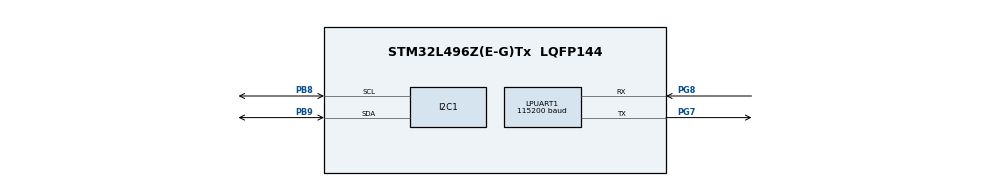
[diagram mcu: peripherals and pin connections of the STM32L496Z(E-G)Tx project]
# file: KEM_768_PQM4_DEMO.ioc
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I2C1.Timing=0x00100D14
LPUART1.BaudRate=115200
LPUART1.WordLength=UART_WORDLENGTH_8B
Mcu.Family=STM32L4
Mcu.Name=STM32L496Z(E-G)Tx
Mcu.Package=LQFP144
NVIC.PriorityGroup=NVIC_PRIORITYGROUP_4
PB8.Mode=I2C
PB8.Signal=I2C1_SCL
PB9.Mode=I2C
PB9.Signal=I2C1_SDA
PG7.Mode=Asynchronous
PG7.Signal=LPUART1_TX
PG8.Mode=Asynchronous
PG8.Signal=LPUART1_RX
ProjectManager.HeapSize=0x200
ProjectManager.StackSize=0x400
ProjectManager.TargetToolchain=STM32CubeIDE
RCC.ADCFreq_Value=32000000
RCC.HSE_VALUE=8000000
RCC.HSI48_VALUE=48000000
RCC.HSI_VALUE=16000000
RCC.LSE_VALUE=32768
RCC.MSI_VALUE=4000000
RCC.PLLSAI1N=16
RCC.USBFreq_Value=32000000
RCC.VCOOutputFreq_Value=32000000
VP_RNG_VS_RNG.Mode=RNG_Activate
board=custom

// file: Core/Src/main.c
/* USER CODE BEGIN Header */
/**
  ******************************************************************************
  * @file           : main.c
  * @brief          : Main program body
  ******************************************************************************
  * @attention
  *
  * Copyright (c) 2026 STMicroelectronics.
  * All rights reserved.
  *
  * This software is licensed under terms that can be found in the LICENSE file
  * in the root directory of this software component.
  * If no LICENSE file comes with this software, it is provided AS-IS.
  *
  ******************************************************************************
  */
/* USER CODE END Header */
#include "main.h"

/* USER CODE BEGIN Includes */
#include <stdio.h>
#include <stdlib.h>
#include <string.h>
#include <stdint.h>

#include "pqm4.h"
#include "putty.h"
#include "ascon.h"
#include "temperature_sensor.h"
#include "uart_connection.h"

/* USER CODE END Includes */

I2C_HandleTypeDef hi2c1;

UART_HandleTypeDef hlpuart1;

RNG_HandleTypeDef hrng;

void SystemClock_Config(void);
static void MX_GPIO_Init(void);
static void MX_LPUART1_UART_Init(void);
static void MX_RNG_Init(void);
static void MX_I2C1_Init(void);

int main(void)
{

  /* USER CODE BEGIN 1 */
  int test_status = -999;
  /* USER CODE END 1 */

  /* MCU Configuration--------------------------------------------------------*/

  /* Reset of all peripherals, Initializes the Flash interface and the Systick. */
  HAL_Init();

  /* Configure the system clock */
  SystemClock_Config();

  /* Initialize all configured peripherals */
  MX_GPIO_Init();
  MX_LPUART1_UART_Init();
  MX_RNG_Init();
  MX_I2C1_Init();
  /* USER CODE BEGIN 2 */

  // SENSOR CODE ----------------------------------------------
  printf("\r\n=== Demarrage BMP280 ===\r\n");

  if (bmp280_init_simple() != HAL_OK)
  {
	  printf("Erreur: BMP280 non detecte.\r\n");
	  while (1)
	  {
		HAL_Delay(1000);
	  }
  }

  printf("BMP280 detecte");

  // ASCON CODE ----------------------------------------------
  printf("\r\n=== Demarrage session ML-KEM-768 + ASCON-AEAD128 ===\r\n");
  printf("La carte attend une public key ML-KEM envoyee par le PC.\r\n");
  printf("Format attendu : PK|<hex public key>\r\n");
  printf("La private key reste cote PC et n'est jamais envoyee a la carte.\r\n");

  if (UARTConnection_StartSession() != 0)
  {
      printf("SESSION_ECHEC\r\n");
      while (1)
      {
          HAL_Delay(1000);
      }
  }

  printf("Mode DEMO: clear + cipher + tag affiches.\r\n");

  /* USER CODE END 2 */

  /* Infinite loop */
  /* USER CODE BEGIN WHILE */
  while (1)
  {
	  // ASCON CODE
	  UARTConnection_StreamTemperatureOnce();

	  HAL_Delay(1000);

    /* USER CODE END WHILE */

  }
}

void SystemClock_Config(void)
{
  RCC_OscInitTypeDef RCC_OscInitStruct = {0};
  RCC_ClkInitTypeDef RCC_ClkInitStruct = {0};

  /** Configure the main internal regulator output voltage
  */
  if (HAL_PWREx_ControlVoltageScaling(PWR_REGULATOR_VOLTAGE_SCALE1) != HAL_OK)
  {
    Error_Handler();
  }

  /** Initializes the RCC Oscillators according to the specified parameters
  * in the RCC_OscInitTypeDef structure.
  */
  RCC_OscInitStruct.OscillatorType = RCC_OSCILLATORTYPE_MSI;
  RCC_OscInitStruct.MSIState = RCC_MSI_ON;
  RCC_OscInitStruct.MSICalibrationValue = 0;
  RCC_OscInitStruct.MSIClockRange = RCC_MSIRANGE_6;
  RCC_OscInitStruct.PLL.PLLState = RCC_PLL_NONE;
  if (HAL_RCC_OscConfig(&RCC_OscInitStruct) != HAL_OK)
  {
    Error_Handler();
  }

  /** Initializes the CPU, AHB and APB buses clocks
  */
  RCC_ClkInitStruct.ClockType = RCC_CLOCKTYPE_HCLK|RCC_CLOCKTYPE_SYSCLK
                              |RCC_CLOCKTYPE_PCLK1|RCC_CLOCKTYPE_PCLK2;
  RCC_ClkInitStruct.SYSCLKSource = RCC_SYSCLKSOURCE_MSI;
  RCC_ClkInitStruct.AHBCLKDivider = RCC_SYSCLK_DIV1;
  RCC_ClkInitStruct.APB1CLKDivider = RCC_HCLK_DIV1;
  RCC_ClkInitStruct.APB2CLKDivider = RCC_HCLK_DIV1;

  if (HAL_RCC_ClockConfig(&RCC_ClkInitStruct, FLASH_LATENCY_0) != HAL_OK)
  {
    Error_Handler();
  }
}

static void MX_I2C1_Init(void)
{

  hi2c1.Instance = I2C1;
  hi2c1.Init.Timing = 0x00100D14;
  hi2c1.Init.OwnAddress1 = 0;
  hi2c1.Init.AddressingMode = I2C_ADDRESSINGMODE_7BIT;
  hi2c1.Init.DualAddressMode = I2C_DUALADDRESS_DISABLE;
  hi2c1.Init.OwnAddress2 = 0;
  hi2c1.Init.OwnAddress2Masks = I2C_OA2_NOMASK;
  hi2c1.Init.GeneralCallMode = I2C_GENERALCALL_DISABLE;
  hi2c1.Init.NoStretchMode = I2C_NOSTRETCH_DISABLE;
  if (HAL_I2C_Init(&hi2c1) != HAL_OK)
  {
    Error_Handler();
  }

  /** Configure Analogue filter
  */
  if (HAL_I2CEx_ConfigAnalogFilter(&hi2c1, I2C_ANALOGFILTER_ENABLE) != HAL_OK)
  {
    Error_Handler();
  }

  /** Configure Digital filter
  */
  if (HAL_I2CEx_ConfigDigitalFilter(&hi2c1, 0) != HAL_OK)
  {
    Error_Handler();
  }

}

static void MX_LPUART1_UART_Init(void)
{

  hlpuart1.Instance = LPUART1;
  hlpuart1.Init.BaudRate = 115200;
  hlpuart1.Init.WordLength = UART_WORDLENGTH_8B;
  hlpuart1.Init.StopBits = UART_STOPBITS_1;
  hlpuart1.Init.Parity = UART_PARITY_NONE;
  hlpuart1.Init.Mode = UART_MODE_TX_RX;
  hlpuart1.Init.HwFlowCtl = UART_HWCONTROL_NONE;
  hlpuart1.Init.OneBitSampling = UART_ONE_BIT_SAMPLE_DISABLE;
  hlpuart1.AdvancedInit.AdvFeatureInit = UART_ADVFEATURE_NO_INIT;
  if (HAL_UART_Init(&hlpuart1) != HAL_OK)
  {
    Error_Handler();
  }

}

static void MX_RNG_Init(void)
{

  hrng.Instance = RNG;
  if (HAL_RNG_Init(&hrng) != HAL_OK)
  {
    Error_Handler();
  }

}

static void MX_GPIO_Init(void)
{

  /* GPIO Ports Clock Enable */
  __HAL_RCC_GPIOG_CLK_ENABLE();
  HAL_PWREx_EnableVddIO2();
  __HAL_RCC_GPIOB_CLK_ENABLE();

}

void Error_Handler(void)
{
  __disable_irq();
  while (1)
  {
  }
}
